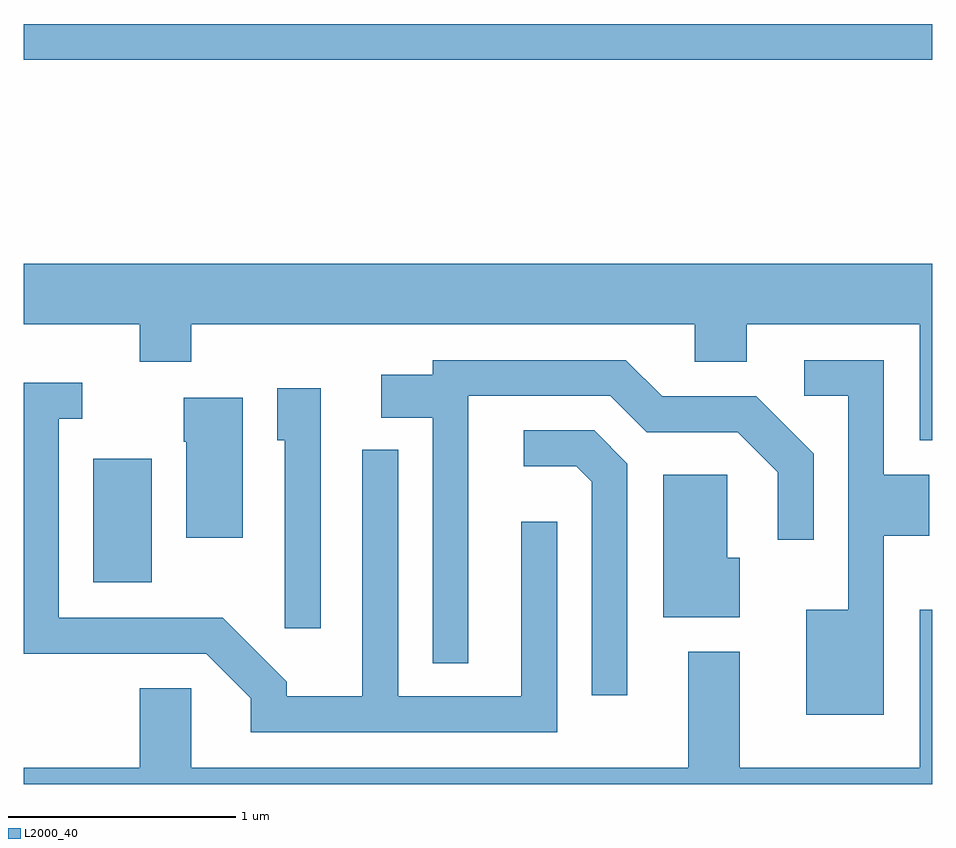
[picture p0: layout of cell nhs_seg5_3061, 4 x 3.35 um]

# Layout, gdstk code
import gdstk
lib = gdstk.Library(unit=1e-6, precision=1e-09)
def R(c, l, rs):  # rectangles x0, y0, x1, y1
    for r in rs: c.add(gdstk.rectangle(r[:2], r[2:], *l))
def P(c, l, *ps):  # polygons
    for p in ps: c.add(gdstk.Polygon(p, *l))
L2000_40 = (2000, 40)

nhs_seg5_3061 = lib.new_cell('nhs_seg5_3061')
R(nhs_seg5_3061, L2000_40, [(275.916,1488.961,276.174,1489.504), (275.611,1491.261,279.611,1491.419)])
P(nhs_seg5_3061, L2000_40, [(279.611,1490.364),(275.611,1490.364),(275.611,1490.096),(276.121,1490.096),(276.121,1489.931),(276.349,1489.931),(276.349,1490.096),(278.566,1490.096),(278.566,1489.931),(278.794,1489.931),(278.794,1490.096),(279.556,1490.096),(279.556,1489.586),(279.611,1489.586)],
  [(277.569,1489.781),(278.194,1489.781),(278.354,1489.621),(278.754,1489.621),(278.931,1489.444),(278.931,1489.148),(279.089,1489.148),(279.089,1489.527),(278.837,1489.779),(278.422,1489.779),(278.262,1489.939),(277.411,1489.939),(277.411,1489.874),(277.186,1489.874),(277.186,1489.686),(277.411,1489.686),(277.411,1488.603),(277.569,1488.603)],
  [(279.399,1489.166),(279.599,1489.166),(279.599,1489.434),(279.399,1489.434),(279.399,1489.939),(279.048,1489.939),(279.048,1489.781),(279.241,1489.781),(279.241,1488.839),(279.056,1488.839),(279.056,1488.376),(279.399,1488.376)],
  [(277.959,1489.228),(277.801,1489.228),(277.801,1488.459),(277.259,1488.459),(277.259,1489.543),(277.101,1489.543),(277.101,1488.459),(276.769,1488.459),(276.769,1488.522),(276.487,1488.804),(275.764,1488.804),(275.764,1489.681),(275.868,1489.681),(275.868,1489.839),(275.611,1489.839),(275.611,1488.646),(276.414,1488.646),(276.611,1488.449),(276.611,1488.301),(277.959,1488.301)],
  [(276.919,1489.814),(276.726,1489.814),(276.726,1489.586),(276.761,1489.586),(276.761,1488.758),(276.919,1488.758)],
  [(276.574,1489.774),(276.316,1489.774),(276.316,1489.58),(276.326,1489.58),(276.326,1489.156),(276.574,1489.156)],
  [(278.269,1489.482),(278.122,1489.629),(277.813,1489.629),(277.813,1489.471),(278.044,1489.471),(278.111,1489.404),(278.111,1488.463),(278.269,1488.463)],
  [(278.764,1489.069),(278.709,1489.069),(278.709,1489.434),(278.426,1489.434),(278.426,1488.806),(278.764,1488.806)],
  [(279.611,1488.839),(279.556,1488.839),(279.556,1488.144),(278.764,1488.144),(278.764,1488.654),(278.536,1488.654),(278.536,1488.144),(276.349,1488.144),(276.349,1488.494),(276.121,1488.494),(276.121,1488.144),(275.611,1488.144),(275.611,1488.072),(279.611,1488.072)])

lib.write_gds('nhs_seg5_3061.gds')
